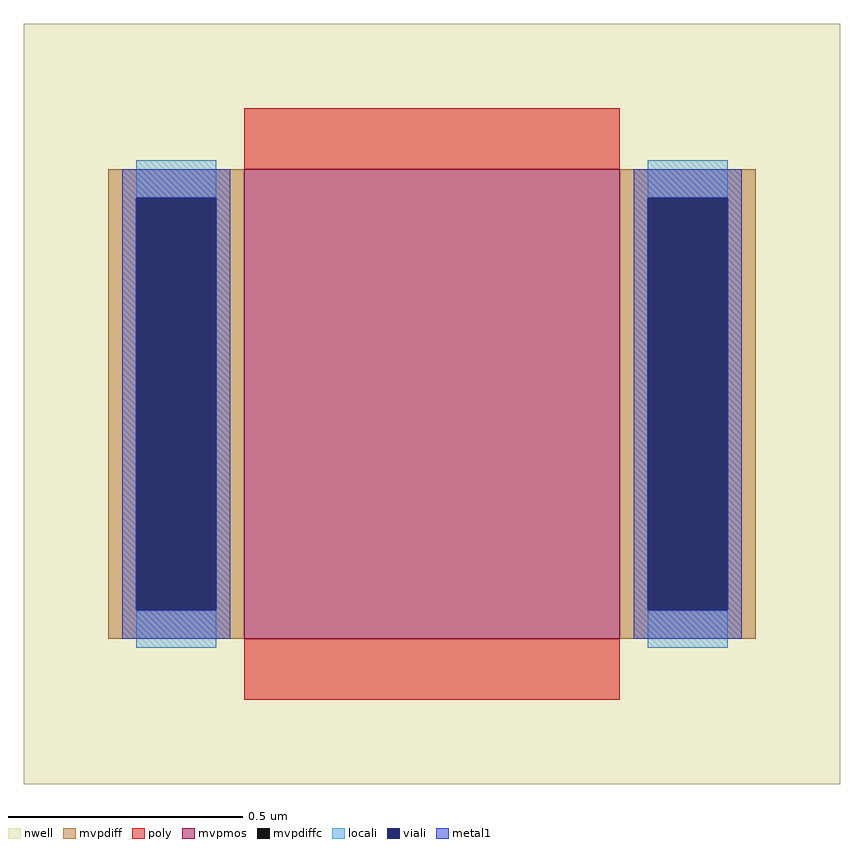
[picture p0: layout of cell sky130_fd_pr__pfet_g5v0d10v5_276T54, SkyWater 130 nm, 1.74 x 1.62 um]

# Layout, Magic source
magic
tech sky130A
<< nwell >>
rect -87 -81 87 81
<< mvpmos >>
rect -40 -50 40 50
<< mvpdiff >>
rect -69 44 -40 50
rect -69 -44 -63 44
rect -46 -44 -40 44
rect -69 -50 -40 -44
rect 40 44 69 50
rect 40 -44 46 44
rect 63 -44 69 44
rect 40 -50 69 -44
<< mvpdiffc >>
rect -63 -44 -46 44
rect 46 -44 63 44
<< poly >>
rect -40 50 40 63
rect -40 -63 40 -50
<< locali >>
rect -63 44 -46 52
rect -63 -52 -46 -44
rect 46 44 63 52
rect 46 -52 63 -44
<< viali >>
rect -63 -44 -46 44
rect 46 -44 63 44
<< metal1 >>
rect -66 44 -43 50
rect -66 -44 -63 44
rect -46 -44 -43 44
rect -66 -50 -43 -44
rect 43 44 66 50
rect 43 -44 46 44
rect 63 -44 66 44
rect 43 -50 66 -44
<< properties >>
string gencell sky130_fd_pr__pfet_g5v0d10v5
string library sky130
string parameters w 1.0 l 0.8 m 1 nf 1 diffcov 100 polycov 100 guard 0 glc 1 grc 1 gtc 1 gbc 1 tbcov 100 rlcov 100 topc 0 botc 0 poverlap 0 doverlap 1 lmin 0.50 wmin 0.42 compatible {sky130_fd_pr__pfet_01v8  sky130_fd_pr__pfet_01v8_lvt sky130_fd_pr__pfet_01v8_hvt  sky130_fd_pr__pfet_g5v0d10v5} full_metal 1 viasrc 100 viadrn 100 viagate 100 viagb 0 viagr 0 viagl 0 viagt 0
<< end >>
